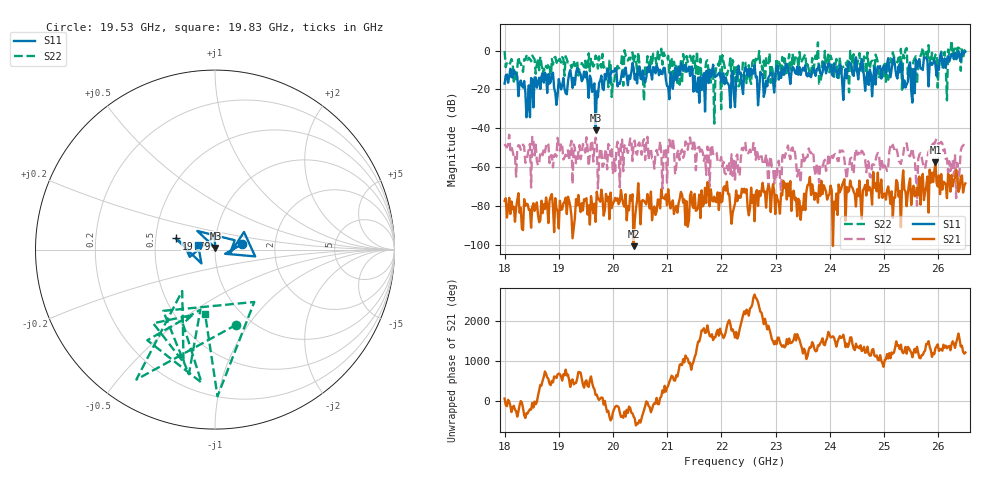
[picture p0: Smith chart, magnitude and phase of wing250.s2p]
!Keysight Technologies,N5242B,MY47200105,A.14.00.23
!Date: Friday, May 10, 2024 11:14:53
!Correction: S11(C  2-Port  )
!S21(C  2-Port  )
!S12(C  2-Port  )
!S22(C  2-Port  )
!S2P File: Measurement: :
# Hz S  RI  R 50
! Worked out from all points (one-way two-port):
!   401 points, 18 GHz to 26.5 GHz, reference 50 ohm
!   highest |S21| = -57.37 dB at 25.95 GHz (marker M1); lowest = -100.4 dB at 20.38 GHz (marker M2)
!   lowest |S11| = -41.0 dB at 19.68 GHz (marker M3), VSWR 1.02, Z = 50.3 + j0.852 ohm
!   |S11| at or under -10 dB: 18.17 GHz to 19.33 GHz (1.16 GHz wide, 6.19 % of centre); 19.35 GHz to 19.9 GHz (548.9 MHz wide, 2.8 % of centre); 21.86 GHz to 22.3 GHz (442.2 MHz wide, 2 % of centre) (the widest 3 of 59)
!   |S22| runs from -37.5 to 5.2 dB; largest |S21 - S12| = 0.0068
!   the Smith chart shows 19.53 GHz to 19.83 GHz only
!   S11 on the Smith chart (normalised r, x): 19.53 GHz: 1.35, +0.08; 19.79 GHz: 0.64, +0.08; 19.83 GHz: 0.83, +0.04
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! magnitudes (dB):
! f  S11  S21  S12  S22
! 18 GHz  -17.0  -77.1  -47.9  -0.2
! 18.43 GHz  -28.4  -78.9  -53.5  -4.9
! 18.72 GHz  -16.5  -78.9  -50.2  -9.3
! 19.42 GHz  -15.8  -78.3  -52.6  -6.4
! 19.53 GHz  -16.2  -84.1  -49.9  -7.2
! 19.68 GHz  -41.0  -87.9  -44.7  -2.6
! 19.79 GHz  -12.9  -71.4  -50.9  -8.8
! 19.83 GHz  -20.3  -84.7  -58.6  -8.8
! 20.02 GHz  -10.9  -77.5  -55.7  -16.4
! 20.38 GHz  -9.1  -100.4  -47.1  -6.5
! 20.55 GHz  -10.2  -76.7  -47.1  -13.7
! 20.85 GHz  -12.7  -76.6  -52.8  -4.5
! 21.23 GHz  -12.7  -76.0  -56.2  -17.5
! 21.4 GHz  -8.3  -87.0  -46.3  -4.2
! 21.85 GHz  -7.3  -77.4  -53.1  -8.9
! 22.25 GHz  -29.0  -78.5  -66.3  -16.1
! 23.67 GHz  -10.7  -68.7  -53.7  -3.8
! 25.1 GHz  -9.2  -73.9  -51.9  -6.1
! 25.59 GHz  -4.5  -74.6  -63.8  -2.9
! 25.95 GHz  -7.3  -57.4  -46.5  -2.2
! 26.33 GHz  -4.1  -61.2  -75.7  -4.5
! 26.5 GHz  -0.6  -68.2  -46.9  0.5
